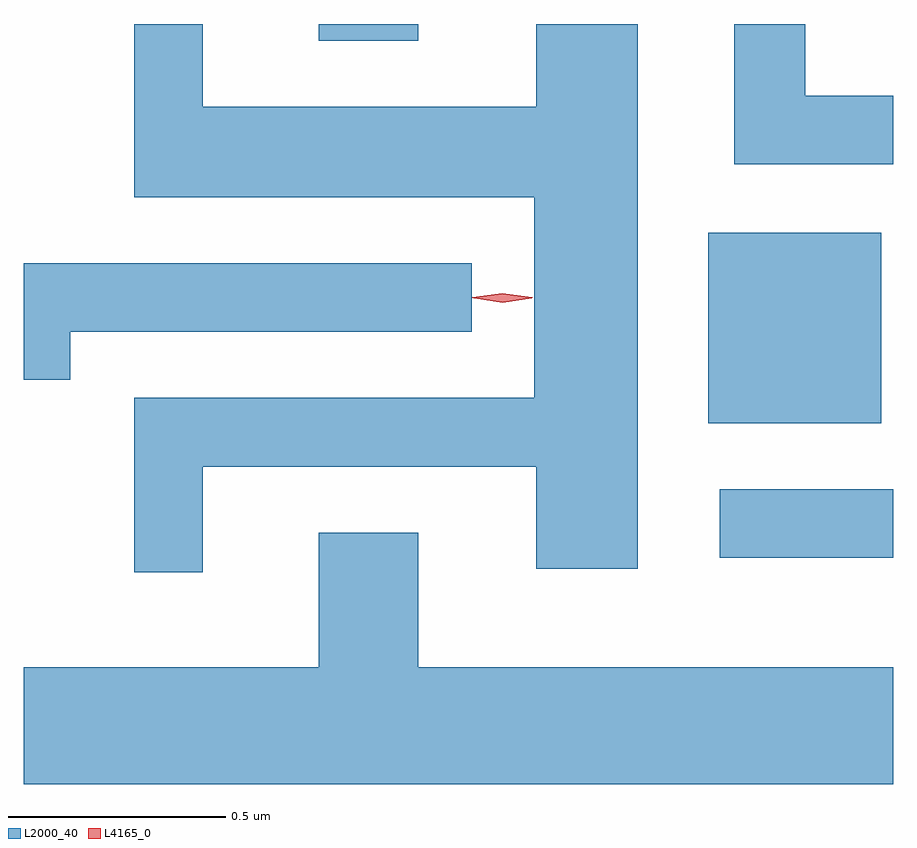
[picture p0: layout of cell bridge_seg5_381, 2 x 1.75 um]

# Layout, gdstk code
import gdstk
lib = gdstk.Library(unit=1e-6, precision=1e-09)
def R(c, l, rs):  # rectangles x0, y0, x1, y1
    for r in rs: c.add(gdstk.rectangle(r[:2], r[2:], *l))
def P(c, l, *ps):  # polygons
    for p in ps: c.add(gdstk.Polygon(p, *l))
L2000_40 = (2000, 40)
L4165_0 = (4165, 0)

bridge_seg5_381 = lib.new_cell('bridge_seg5_381')
R(bridge_seg5_381, L2000_40, [(900.183,1392.936,900.582,1393.094), (900.156,1393.246,900.554,1393.684), (899.261,1394.126,899.489,1394.164)])
P(bridge_seg5_381, L2000_40, [(900.582,1393.999),(900.379,1393.999),(900.379,1394.164),(900.216,1394.164),(900.216,1393.841),(900.582,1393.841)],
  [(898.994,1393.146),(899.761,1393.146),(899.761,1392.911),(899.994,1392.911),(899.994,1394.164),(899.761,1394.164),(899.761,1393.974),(898.994,1393.974),(898.994,1394.164),(898.836,1394.164),(898.836,1393.766),(899.756,1393.766),(899.756,1393.304),(898.836,1393.304),(898.836,1392.903),(898.994,1392.903)],
  [(898.689,1393.456),(899.613,1393.456),(899.613,1393.614),(898.582,1393.614),(898.582,1393.346),(898.689,1393.346)],
  [(900.582,1392.684),(899.489,1392.684),(899.489,1392.994),(899.261,1392.994),(899.261,1392.684),(898.582,1392.684),(898.582,1392.416),(900.582,1392.416)])
P(bridge_seg5_381, L4165_0, [(899.684,1393.523),(899.618,1393.533),(899.617,1393.533),(899.618,1393.534),(899.684,1393.543),(899.75,1393.534),(899.75,1393.533),(899.75,1393.533)],
  [(899.683,1393.525),(899.614,1393.534),(899.614,1393.535),(899.614,1393.535),(899.683,1393.545),(899.752,1393.535),(899.753,1393.535),(899.752,1393.534)])

lib.write_gds('bridge_seg5_381.gds')
